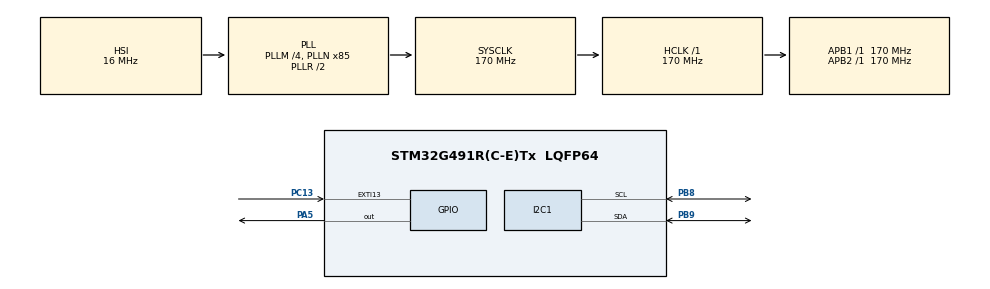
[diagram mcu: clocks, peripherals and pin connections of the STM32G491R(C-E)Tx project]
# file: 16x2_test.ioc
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I2C1.Timing=0x40B285C2
Mcu.Family=STM32G4
Mcu.Name=STM32G491R(C-E)Tx
Mcu.Package=LQFP64
NUCLEO-G491RE.BUTTON=1
NUCLEO-G491RE.LD2=true
NUCLEO-G491RE.VCP=true
NVIC.EXTI15_10_IRQn=true\:0\:0\:false\:false\:true\:true\:true\:true
NVIC.PriorityGroup=NVIC_PRIORITYGROUP_4
PA13.GPIO_Label=T_SWDIO
PA13.Signal=SYS_JTMS-SWDIO
PA14.GPIO_Label=T_SWCLK
PA14.Signal=SYS_JTCK-SWCLK
PA2.Signal=LPUART1_TX
PA3.Signal=LPUART1_RX
PA5.Signal=GPIO_Output
PB3.GPIO_Label=T_SWO
PB3.Signal=SYS_JTDO-SWO
PB8-BOOT0.Mode=I2C
PB8-BOOT0.Signal=I2C1_SCL
PB9.Mode=I2C
PB9.Signal=I2C1_SDA
PC13.Signal=GPXTI13
PC14-OSC32_IN.GPIO_Label=RCC_OSC32_IN
PC14-OSC32_IN.Signal=RCC_OSC32_IN
PC15-OSC32_OUT.GPIO_Label=RCC_OSC32_OUT
PC15-OSC32_OUT.Signal=RCC_OSC32_OUT
PF0-OSC_IN.GPIO_Label=RCC_OSC_IN
PF0-OSC_IN.Signal=RCC_OSC_IN
PF1-OSC_OUT.GPIO_Label=RCC_OSC_OUT
PF1-OSC_OUT.Signal=RCC_OSC_OUT
ProjectManager.HeapSize=0x200
ProjectManager.StackSize=0x400
ProjectManager.TargetToolchain=STM32CubeIDE
RCC.ADC12Freq_Value=170000000
RCC.ADC345Freq_Value=170000000
RCC.AHBFreq_Value=170000000
RCC.APB1Freq_Value=170000000
RCC.APB1TimFreq_Value=170000000
RCC.APB2Freq_Value=170000000
RCC.APB2TimFreq_Value=170000000
RCC.CortexFreq_Value=170000000
RCC.EXTERNAL_CLOCK_VALUE=12288000
RCC.HCLKFreq_Value=170000000
RCC.HSE_VALUE=24000000
RCC.HSI48_VALUE=48000000
RCC.HSI_VALUE=16000000
RCC.LSE_VALUE=32768
RCC.PLLM=RCC_PLLM_DIV4
RCC.PLLN=85
RCC.RTCClockSelection=RCC_RTCCLKSOURCE_LSE
RCC.SYSCLKFreq_VALUE=170000000
RCC.SYSCLKSource=RCC_SYSCLKSOURCE_PLLCLK
RCC.USBFreq_Value=48000000
RCC.VCOOutputFreq_Value=340000000
VP_NUCLEO-G491RE_VS_BSP_COMMON.Mode=COMMON
VP_SYS_VS_DBSignals.Mode=DisableDeadBatterySignals
board=NUCLEO-G491RE

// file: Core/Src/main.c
/* USER CODE BEGIN Header */
/**
  ******************************************************************************
  * @file           : main.c
  * @brief          : Main program body
  ******************************************************************************
  * @attention
  *
  * Copyright (c) 2026 STMicroelectronics.
  * All rights reserved.
  *
  * This software is licensed under terms that can be found in the LICENSE file
  * in the root directory of this software component.
  * If no LICENSE file comes with this software, it is provided AS-IS.
  *
  ******************************************************************************
  */
/* USER CODE END Header */
#include "main.h"

COM_InitTypeDef BspCOMInit;
I2C_HandleTypeDef hi2c1;

/* USER CODE BEGIN PV */
#define LCD_ADDR (0x27 << 1) // Change to (0x3F << 1) if your module uses the 0x3F address

void lcd_send_cmd(char cmd);
void lcd_send_data(char data);
void lcd_init(void);
void lcd_send_string(char *str);
void lcd_put_cur(int row, int col);
void lcd_clear(void);
/* USER CODE END PV */

void SystemClock_Config(void);
static void MX_GPIO_Init(void);
static void MX_I2C1_Init(void);

float lat = 0;

int main(void)
{

  /* MCU Configuration--------------------------------------------------------*/

  /* Reset of all peripherals, Initializes the Flash interface and the Systick. */
  HAL_Init();

  /* Configure the system clock */
  SystemClock_Config();

  /* Initialize all configured peripherals */
  MX_GPIO_Init();
  MX_I2C1_Init();
  /* USER CODE BEGIN 2 */
  lcd_init();

    // Flash a welcome message
    lcd_put_cur(0, 0);            // Row 0, Column 0
    lcd_send_string("STM32G491 Test");

    lcd_put_cur(1, 0);            // Row 1, Column 0
    lcd_send_string("LCD is Working!");
  /* USER CODE END 2 */

  /* Initialize led */
  BSP_LED_Init(LED_GREEN);

  /* Initialize USER push-button, will be used to trigger an interrupt each time it's pressed.*/
  BSP_PB_Init(BUTTON_USER, BUTTON_MODE_EXTI);

  /* Initialize COM1 port (115200, 8 bits (7-bit data + 1 stop bit), no parity */
  BspCOMInit.BaudRate   = 115200;
  BspCOMInit.WordLength = COM_WORDLENGTH_8B;
  BspCOMInit.StopBits   = COM_STOPBITS_1;
  BspCOMInit.Parity     = COM_PARITY_NONE;
  BspCOMInit.HwFlowCtl  = COM_HWCONTROL_NONE;
  if (BSP_COM_Init(COM1, &BspCOMInit) != BSP_ERROR_NONE)
  {
    Error_Handler();
  }

  /* Infinite loop */
  while (1)
  {

  }
}

void SystemClock_Config(void)
{
  RCC_OscInitTypeDef RCC_OscInitStruct = {0};
  RCC_ClkInitTypeDef RCC_ClkInitStruct = {0};

  /** Configure the main internal regulator output voltage
  */
  HAL_PWREx_ControlVoltageScaling(PWR_REGULATOR_VOLTAGE_SCALE1_BOOST);

  /** Initializes the RCC Oscillators according to the specified parameters
  * in the RCC_OscInitTypeDef structure.
  */
  RCC_OscInitStruct.OscillatorType = RCC_OSCILLATORTYPE_HSI;
  RCC_OscInitStruct.HSIState = RCC_HSI_ON;
  RCC_OscInitStruct.HSICalibrationValue = RCC_HSICALIBRATION_DEFAULT;
  RCC_OscInitStruct.PLL.PLLState = RCC_PLL_ON;
  RCC_OscInitStruct.PLL.PLLSource = RCC_PLLSOURCE_HSI;
  RCC_OscInitStruct.PLL.PLLM = RCC_PLLM_DIV4;
  RCC_OscInitStruct.PLL.PLLN = 85;
  RCC_OscInitStruct.PLL.PLLP = RCC_PLLP_DIV2;
  RCC_OscInitStruct.PLL.PLLQ = RCC_PLLQ_DIV2;
  RCC_OscInitStruct.PLL.PLLR = RCC_PLLR_DIV2;
  if (HAL_RCC_OscConfig(&RCC_OscInitStruct) != HAL_OK)
  {
    Error_Handler();
  }

  /** Initializes the CPU, AHB and APB buses clocks
  */
  RCC_ClkInitStruct.ClockType = RCC_CLOCKTYPE_HCLK|RCC_CLOCKTYPE_SYSCLK
                              |RCC_CLOCKTYPE_PCLK1|RCC_CLOCKTYPE_PCLK2;
  RCC_ClkInitStruct.SYSCLKSource = RCC_SYSCLKSOURCE_PLLCLK;
  RCC_ClkInitStruct.AHBCLKDivider = RCC_SYSCLK_DIV1;
  RCC_ClkInitStruct.APB1CLKDivider = RCC_HCLK_DIV1;
  RCC_ClkInitStruct.APB2CLKDivider = RCC_HCLK_DIV1;

  if (HAL_RCC_ClockConfig(&RCC_ClkInitStruct, FLASH_LATENCY_4) != HAL_OK)
  {
    Error_Handler();
  }
}

static void MX_I2C1_Init(void)
{

  hi2c1.Instance = I2C1;
  hi2c1.Init.Timing = 0x40B285C2;
  hi2c1.Init.OwnAddress1 = 0;
  hi2c1.Init.AddressingMode = I2C_ADDRESSINGMODE_7BIT;
  hi2c1.Init.DualAddressMode = I2C_DUALADDRESS_DISABLE;
  hi2c1.Init.OwnAddress2 = 0;
  hi2c1.Init.OwnAddress2Masks = I2C_OA2_NOMASK;
  hi2c1.Init.GeneralCallMode = I2C_GENERALCALL_DISABLE;
  hi2c1.Init.NoStretchMode = I2C_NOSTRETCH_DISABLE;
  if (HAL_I2C_Init(&hi2c1) != HAL_OK)
  {
    Error_Handler();
  }

  /** Configure Analogue filter
  */
  if (HAL_I2CEx_ConfigAnalogFilter(&hi2c1, I2C_ANALOGFILTER_ENABLE) != HAL_OK)
  {
    Error_Handler();
  }

  /** Configure Digital filter
  */
  if (HAL_I2CEx_ConfigDigitalFilter(&hi2c1, 0) != HAL_OK)
  {
    Error_Handler();
  }

}

static void MX_GPIO_Init(void)
{

  /* GPIO Ports Clock Enable */
  __HAL_RCC_GPIOC_CLK_ENABLE();
  __HAL_RCC_GPIOF_CLK_ENABLE();
  __HAL_RCC_GPIOA_CLK_ENABLE();
  __HAL_RCC_GPIOB_CLK_ENABLE();

}

/* USER CODE BEGIN 4 */
void lcd_send_cmd (char cmd) {
    char data_u, data_l;
    uint8_t data_t[4];
    data_u = (cmd & 0xf0);
    data_l = ((cmd << 4) & 0xf0);

    // Bit 3 (0x08) controls the backlight. 0x0C turns Enable High, 0x08 turns Enable Low.
    data_t[0] = data_u | 0x0C;  // en=1, rs=0
    data_t[1] = data_u | 0x08;  // en=0, rs=0
    data_t[2] = data_l | 0x0C;  // en=1, rs=0
    data_t[3] = data_l | 0x08;  // en=0, rs=0
    HAL_I2C_Master_Transmit(&hi2c1, LCD_ADDR, (uint8_t *)data_t, 4, 100);
}

void lcd_send_data (char data) {
    char data_u, data_l;
    uint8_t data_t[4];
    data_u = (data & 0xf0);
    data_l = ((data << 4) & 0xf0);

    // Register Select (RS) is high (0x01) for data transmission
    data_t[0] = data_u | 0x0D;  // en=1, rs=1
    data_t[1] = data_u | 0x09;  // en=0, rs=1
    data_t[2] = data_l | 0x0D;  // en=1, rs=1
    data_t[3] = data_l | 0x09;  // en=0, rs=1
    HAL_I2C_Master_Transmit(&hi2c1, LCD_ADDR, (uint8_t *)data_t, 4, 100);
}

void lcd_clear (void) {
    lcd_send_cmd(0x01);
    HAL_Delay(2);
}

void lcd_put_cur(int row, int col) {
    switch (row) {
        case 0:
            col |= 0x80;
            break;
        case 1:
            col |= 0xC0;
            break;
    }
    lcd_send_cmd(col);
}

void lcd_init (void) {
    // 4-bit initialization sequence specified by HD4478O standard
    HAL_Delay(50);
    lcd_send_cmd(0x30);
    HAL_Delay(5);
    lcd_send_cmd(0x30);
    HAL_Delay(1);
    lcd_send_cmd(0x30);
    HAL_Delay(10);
    lcd_send_cmd(0x20);  // Switch to 4-bit mode
    HAL_Delay(10);

    // Display Initialisation
    lcd_send_cmd(0x28); // 2 lines, 5x8 font matrix
    HAL_Delay(1);
    lcd_send_cmd(0x0C); // Display on, cursor off, blink off
    HAL_Delay(1);
    lcd_send_cmd(0x06); // Increment cursor auto-enabling entry mode
    HAL_Delay(1);
    lcd_send_cmd(0x01); // Clear display memory
    HAL_Delay(2);
}

void lcd_send_string (char *str) {
    while (*str) lcd_send_data(*str++);
}
/* USER CODE END 4 */

void Error_Handler(void)
{
  __disable_irq();
  while (1)
  {
  }
}
